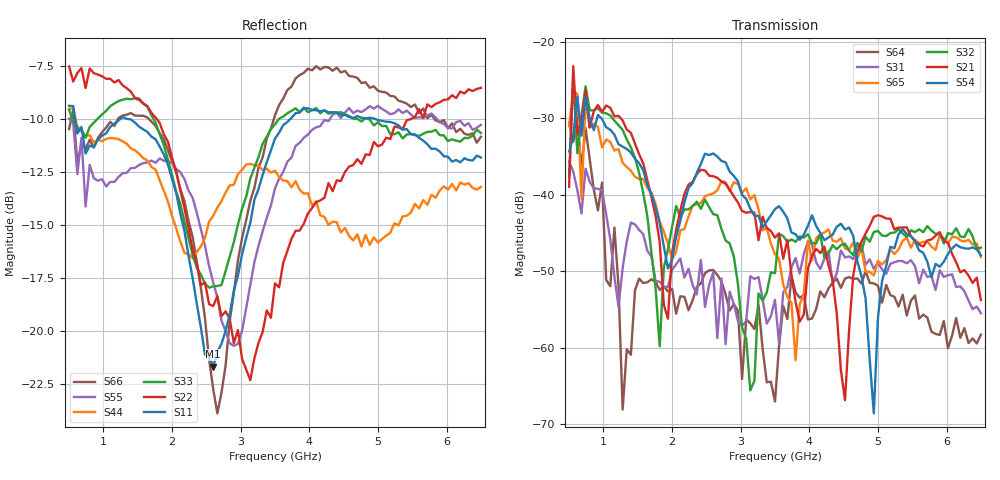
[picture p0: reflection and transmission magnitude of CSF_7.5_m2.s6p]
!Keysight Technologies,M9804A,MY58100912,A.14.10.03
!Date: Thursday, April 27, 2023 10:28:33
!Correction: S11(C  6-Port  )
!S12(C  6-Port  )
!S13(C  6-Port  )
!S14(C  6-Port  )
!S15(C  6-Port  )
!S16(C  6-Port  )
!S21(C  6-Port  )
!S22(C  6-Port  )
!S23(C  6-Port  )
!S24(C  6-Port  )
!S25(C  6-Port  )
!S26(C  6-Port  )
!S31(C  6-Port  )
!S32(C  6-Port  )
!S33(C  6-Port  )
!S34(C  6-Port  )
!S35(C  6-Port  )
!S36(C  6-Port  )
!S41(C  6-Port  )
!S42(C  6-Port  )
!S43(C  6-Port  )
!S44(C  6-Port  )
!S45(C  6-Port  )
!S46(C  6-Port  )
!S51(C  6-Port  )
!S52(C  6-Port  )
!S53(C  6-Port  )
!S54(C  6-Port  )
!S55(C  6-Port  )
!S56(C  6-Port  )
!S61(C  6-Port  )
!S62(C  6-Port  )
!S63(C  6-Port  )
!S64(C  6-Port  )
!S65(C  6-Port  )
!S66(C  6-Port  )
!S6P File: Measurement: :
# Hz S  RI  R 50
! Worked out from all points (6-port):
!   101 points, 500 MHz to 6.5 GHz, reference 50 ohm
!   strongest paths, dB at 500 MHz, 2 GHz, 3.5 GHz, 5 GHz, 6.5 GHz:
!     S54: -34.4, -48.5, -41.9, -56.1, -47.9
!     S21: -39.0, -47.6, -45.6, -42.7, -53.8
!     S32: -37.6, -44.2, -50.3, -44.7, -46.9
!     S65: -31.1, -48.5, -47.8, -48.6, -48.1
!     S31: -35.7, -49.8, -53.7, -48.9, -55.5
!     S64: -30.5, -52.3, -67.0, -51.9, -58.3
!   lowest |S11| = -21.7 dB at 2.6 GHz (marker M1), VSWR 1.18, Z = 42.6 + j2.04 ohm
!   |S11| at or under -10 dB: 588.5 MHz to 1.243 GHz (654.4 MHz wide, 71.5 % of centre); 1.37 GHz to 3.721 GHz (2.351 GHz wide, 92.3 % of centre); 4.964 GHz to end of sweep
